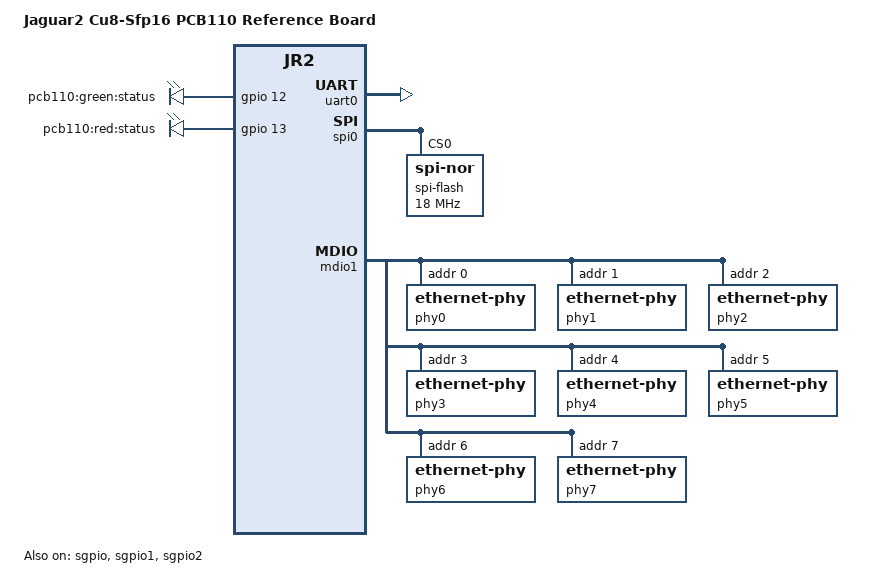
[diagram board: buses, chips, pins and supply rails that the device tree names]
// SPDX-License-Identifier: (GPL-2.0+ OR MIT)
/*
 * Copyright (c) 2018 Microsemi Corporation
 */

/dts-v1/;
#include "mscc,jr2.dtsi"
#include <dt-bindings/mscc/jr2_data.h>

/ {
	model = "Jaguar2 Cu8-Sfp16 PCB110 Reference Board";
	compatible = "mscc,jr2-pcb110", "mscc,jr2";

	aliases {
		spi0 = &spi0;
		serial0 = &uart0;
	};

	chosen {
		stdout-path = "serial0:115200n8";
	};

	gpio-leds {
		compatible = "gpio-leds";

		status_green {
			label = "pcb110:green:status";
			gpios = <&gpio 12 0>;
			default-state = "on";
		};

		status_red {
			label = "pcb110:red:status";
			gpios = <&gpio 13 0>;
			default-state = "off";
		};
	};
};

&uart0 {
	status = "okay";
};

&spi0 {
	status = "okay";
	spi-flash@0 {
		compatible = "jedec,spi-nor";
		spi-max-frequency = <18000000>; /* input clock */
		reg = <0>; /* CS0 */
	};
};

&gpio {
	/* SPIO only use DO, CLK, no inputs */
	sgpio1_pins: sgpio1-pins {
		pins = "GPIO_4", "GPIO_5";
		function = "sg1";
	};
};

&sgpio {
	status = "okay";
	sgpio-ports = <0x00ffffff>;
};

&sgpio1 {
	status = "okay";
	sgpio-ports = <0x00ff0000>;
};

&sgpio2 {
	status = "okay";
	sgpio-ports = <0x3f00ffff>;
	gpio-ranges = <&sgpio2 0 0 96>;
};

&mdio1 {
	status = "okay";

	phy0: ethernet-phy@0 {
		reg = <0>;
	};
	phy1: ethernet-phy@1 {
		reg = <1>;
	};
	phy2: ethernet-phy@2 {
		reg = <2>;
	};
	phy3: ethernet-phy@3 {
		reg = <3>;
	};
	phy4: ethernet-phy@4 {
		reg = <4>;
	};
	phy5: ethernet-phy@5 {
		reg = <5>;
	};
	phy6: ethernet-phy@6 {
		reg = <6>;
	};
	phy7: ethernet-phy@7 {
		reg = <7>;
	};
};

&switch {
	ethernet-ports {

		port0: port@0 {
			reg = <0>;
			phy-handle = <&phy0>;
			phys = <&serdes_hsio 0 SERDES1G(1) PHY_MODE_SGMII>;
		};
		port1: port@1 {
			reg = <1>;
			phy-handle = <&phy1>;
			phys = <&serdes_hsio 1 SERDES1G(2) PHY_MODE_SGMII>;
		};
		port2: port@2 {
			reg = <2>;
			phy-handle = <&phy2>;
			phys = <&serdes_hsio 2 SERDES1G(3) PHY_MODE_SGMII>;
		};
		port3: port@3 {
			reg = <3>;
			phy-handle = <&phy3>;
			phys = <&serdes_hsio 3 SERDES1G(4) PHY_MODE_SGMII>;
		};
		port4: port@4 {
			reg = <4>;
			phy-handle = <&phy4>;
			phys = <&serdes_hsio 4 SERDES1G(5) PHY_MODE_SGMII>;
		};
		port5: port@5 {
			reg = <5>;
			phy-handle = <&phy5>;
			phys = <&serdes_hsio 5 SERDES1G(6) PHY_MODE_SGMII>;
		};
		port6: port@6 {
			reg = <6>;
			phy-handle = <&phy6>;
			phys = <&serdes_hsio 6 SERDES1G(7) PHY_MODE_SGMII>;
		};
		port7: port@7 {
			reg = <7>;
			phy-handle = <&phy7>;
			phys = <&serdes_hsio 7 SERDES1G(8) PHY_MODE_SGMII>;
		};
	};
};
